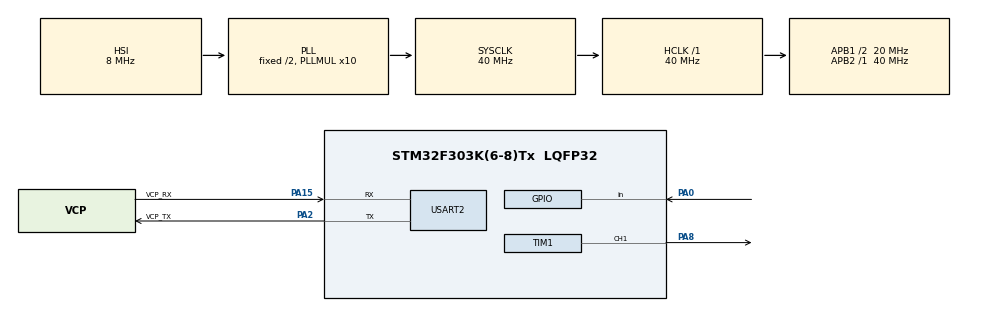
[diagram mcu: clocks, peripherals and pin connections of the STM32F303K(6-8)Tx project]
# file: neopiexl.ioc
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Dma.Request0=TIM1_CH1
Dma.TIM1_CH1.0.Direction=DMA_MEMORY_TO_PERIPH
Dma.TIM1_CH1.0.Instance=DMA1_Channel2
Dma.TIM1_CH1.0.MemDataAlignment=DMA_MDATAALIGN_WORD
Dma.TIM1_CH1.0.MemInc=DMA_MINC_ENABLE
Dma.TIM1_CH1.0.Mode=DMA_NORMAL
Dma.TIM1_CH1.0.PeriphDataAlignment=DMA_PDATAALIGN_WORD
Dma.TIM1_CH1.0.PeriphInc=DMA_PINC_DISABLE
Dma.TIM1_CH1.0.Priority=DMA_PRIORITY_VERY_HIGH
Mcu.Family=STM32F3
Mcu.Name=STM32F303K(6-8)Tx
Mcu.Package=LQFP32
NVIC.DMA1_Channel2_IRQn=true\:0\:0\:false\:false\:true\:false\:true\:true
NVIC.PriorityGroup=NVIC_PRIORITYGROUP_4
PA0.GPIO_PuPd=GPIO_PULLUP
PA0.Signal=GPIO_Input
PA13.GPIO_Label=SWDIO
PA13.Mode=Serial_Wire
PA13.Signal=SYS_JTMS-SWDIO
PA14.GPIO_Label=SWCLK
PA14.Mode=Serial_Wire
PA14.Signal=SYS_JTCK-SWCLK
PA15.GPIO_Label=VCP_RX
PA15.Mode=Asynchronous
PA15.Signal=USART2_RX
PA2.GPIO_Label=VCP_TX
PA2.Mode=Asynchronous
PA2.Signal=USART2_TX
PA8.Signal=S_TIM1_CH1
PF0\ /\ OSC_IN.GPIO_Label=MCO
PF0\ /\ OSC_IN.Mode=HSE-External-Clock-Source
PF0\ /\ OSC_IN.Signal=RCC_OSC_IN
ProjectManager.HeapSize=0x200
ProjectManager.StackSize=0x400
ProjectManager.TargetToolchain=STM32CubeIDE
RCC.AHBFreq_Value=40000000
RCC.APB1CLKDivider=RCC_HCLK_DIV2
RCC.APB1Freq_Value=20000000
RCC.APB1TimFreq_Value=40000000
RCC.APB2Freq_Value=40000000
RCC.APB2TimFreq_Value=40000000
RCC.CortexFreq_Value=40000000
RCC.HCLKFreq_Value=40000000
RCC.HSE_VALUE=8000000
RCC.HSI_VALUE=8000000
RCC.PLLMUL=RCC_PLL_MUL10
RCC.SYSCLKFreq_VALUE=40000000
RCC.SYSCLKSourceVirtual=RCC_SYSCLKSOURCE_PLLCLK
SH.S_TIM1_CH1.0=TIM1_CH1,PWM Generation1 CH1
TIM1.Channel-PWM\ Generation1\ CH1=TIM_CHANNEL_1
TIM1.OCFastMode_PWM-PWM\ Generation1\ CH1=TIM_OCFAST_ENABLE
TIM1.OCIdleState_1=TIM_OCIDLESTATE_SET
TIM1.Period=12-1
TIM1.Prescaler=4-1
USART2.VirtualMode-Asynchronous=VM_ASYNC
board=NUCLEO-F303K8

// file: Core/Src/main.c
/* USER CODE BEGIN Header */
/**
  ******************************************************************************
  * @file           : main.c
  * @brief          : Main program body
  ******************************************************************************
  * @attention
  *
  * Copyright (c) 2024 STMicroelectronics.
  * All rights reserved.
  *
  * This software is licensed under terms that can be found in the LICENSE file
  * in the root directory of this software component.
  * If no LICENSE file comes with this software, it is provided AS-IS.
  *
  ******************************************************************************
  */
/* USER CODE END Header */
#include "main.h"
#include "dma.h"
#include "tim.h"
#include "usart.h"
#include "gpio.h"

/* USER CODE BEGIN Includes */
#include "neopixel.h"
/* USER CODE END Includes */

void SystemClock_Config(void);

int main(void)
{

  /* MCU Configuration--------------------------------------------------------*/

  /* Reset of all peripherals, Initializes the Flash interface and the Systick. */
  HAL_Init();

  /* Configure the system clock */
  SystemClock_Config();

  /* Initialize all configured peripherals */
  MX_GPIO_Init();
  MX_DMA_Init();
  MX_USART2_UART_Init();
  MX_TIM1_Init();
  /* USER CODE BEGIN 2 */
  int blightness=50;
  UpdateNeoPixel(0,0,blightness);

  /* USER CODE END 2 */

  /* Infinite loop */
  while (1)
  {

    /* USER CODE BEGIN 3 */
	  if(HAL_GPIO_ReadPin(GPIOA, GPIO_PIN_0)==GPIO_PIN_RESET){
		  UpdateNeoPixel(0,0,0);
		  HAL_Delay(80);
		  UpdateNeoPixel(0,0,blightness);
		  HAL_Delay(80);
		  UpdateNeoPixel(0,0,0);
		  HAL_Delay(80);
		  UpdateNeoPixel(0,0,blightness);
		  HAL_Delay(80);
		  UpdateNeoPixel(0,0,0);
		  HAL_Delay(50);
		  UpdateNeoPixel(0,0,blightness);
		  HAL_Delay(50);
		  UpdateNeoPixel(0,0,0);
		  HAL_Delay(50);
		  UpdateNeoPixel(0,0,blightness);
		  HAL_Delay(50);
		  UpdateNeoPixel(0,0,blightness);
	  }
  }
  /* USER CODE END 3 */
}

void SystemClock_Config(void)
{
  RCC_OscInitTypeDef RCC_OscInitStruct = {0};
  RCC_ClkInitTypeDef RCC_ClkInitStruct = {0};
  RCC_PeriphCLKInitTypeDef PeriphClkInit = {0};

  /** Initializes the RCC Oscillators according to the specified parameters
  * in the RCC_OscInitTypeDef structure.
  */
  RCC_OscInitStruct.OscillatorType = RCC_OSCILLATORTYPE_HSI;
  RCC_OscInitStruct.HSIState = RCC_HSI_ON;
  RCC_OscInitStruct.HSICalibrationValue = RCC_HSICALIBRATION_DEFAULT;
  RCC_OscInitStruct.PLL.PLLState = RCC_PLL_ON;
  RCC_OscInitStruct.PLL.PLLSource = RCC_PLLSOURCE_HSI;
  RCC_OscInitStruct.PLL.PLLMUL = RCC_PLL_MUL10;
  if (HAL_RCC_OscConfig(&RCC_OscInitStruct) != HAL_OK)
  {
    Error_Handler();
  }

  /** Initializes the CPU, AHB and APB buses clocks
  */
  RCC_ClkInitStruct.ClockType = RCC_CLOCKTYPE_HCLK|RCC_CLOCKTYPE_SYSCLK
                              |RCC_CLOCKTYPE_PCLK1|RCC_CLOCKTYPE_PCLK2;
  RCC_ClkInitStruct.SYSCLKSource = RCC_SYSCLKSOURCE_PLLCLK;
  RCC_ClkInitStruct.AHBCLKDivider = RCC_SYSCLK_DIV1;
  RCC_ClkInitStruct.APB1CLKDivider = RCC_HCLK_DIV2;
  RCC_ClkInitStruct.APB2CLKDivider = RCC_HCLK_DIV1;

  if (HAL_RCC_ClockConfig(&RCC_ClkInitStruct, FLASH_LATENCY_1) != HAL_OK)
  {
    Error_Handler();
  }
  PeriphClkInit.PeriphClockSelection = RCC_PERIPHCLK_TIM1;
  PeriphClkInit.Tim1ClockSelection = RCC_TIM1CLK_HCLK;
  if (HAL_RCCEx_PeriphCLKConfig(&PeriphClkInit) != HAL_OK)
  {
    Error_Handler();
  }
}

void Error_Handler(void)
{
  __disable_irq();
  while (1)
  {
  }
}
